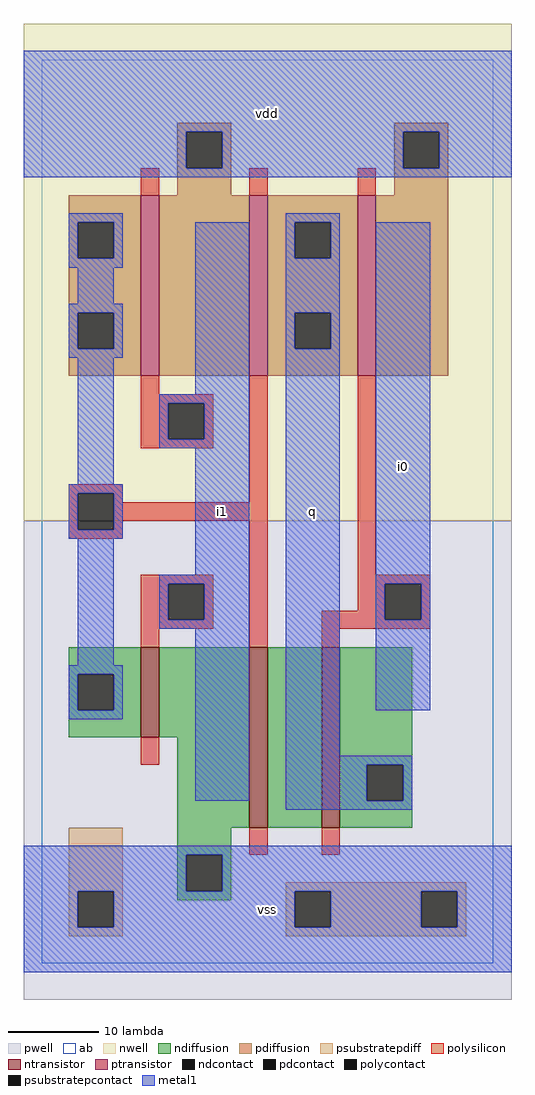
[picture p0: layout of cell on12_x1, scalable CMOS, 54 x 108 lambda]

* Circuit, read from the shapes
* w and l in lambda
.subckt on12_x1 i0 i1 q vdd vss
M1 vss i1 n1 vss nfet w=10 l=2
M2 n2 n1 vss vss nfet w=20 l=2
M3 q i0 n2 vss nfet w=20 l=2
M4 vdd i1 n1 n3 pfet w=20 l=2
M5 q n1 vdd n3 pfet w=20 l=2
M6 vdd i0 q n3 pfet w=20 l=2
.ends

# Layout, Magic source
magic
tech scmos
<< ab >>
rect 0 0 50 100
<< pwell >>
rect -2 -4 52 49
<< nwell >>
rect -2 49 52 104
<< polysilicon >>
rect 11 85 13 88
rect 23 85 25 88
rect 35 85 37 88
rect 11 63 13 65
rect 11 62 19 63
rect 11 58 14 62
rect 18 58 19 62
rect 11 57 19 58
rect 3 52 9 53
rect 3 48 4 52
rect 8 51 9 52
rect 23 51 25 65
rect 8 49 25 51
rect 8 48 9 49
rect 3 47 9 48
rect 11 42 19 43
rect 11 38 14 42
rect 18 38 19 42
rect 11 37 19 38
rect 11 35 13 37
rect 23 35 25 49
rect 35 43 37 65
rect 35 42 43 43
rect 35 39 38 42
rect 31 38 38 39
rect 42 38 43 42
rect 31 37 43 38
rect 31 35 33 37
rect 11 22 13 25
rect 23 12 25 15
rect 31 12 33 15
<< ndiffusion >>
rect 3 32 11 35
rect 3 28 4 32
rect 8 28 11 32
rect 3 25 11 28
rect 13 25 23 35
rect 15 15 23 25
rect 25 15 31 35
rect 33 22 41 35
rect 33 18 36 22
rect 40 18 41 22
rect 33 15 41 18
rect 15 12 21 15
rect 15 8 16 12
rect 20 8 21 12
rect 15 7 21 8
<< pdiffusion >>
rect 15 92 21 93
rect 15 88 16 92
rect 20 88 21 92
rect 39 92 45 93
rect 39 88 40 92
rect 44 88 45 92
rect 15 85 21 88
rect 39 85 45 88
rect 3 82 11 85
rect 3 78 4 82
rect 8 78 11 82
rect 3 72 11 78
rect 3 68 4 72
rect 8 68 11 72
rect 3 65 11 68
rect 13 65 23 85
rect 25 82 35 85
rect 25 78 28 82
rect 32 78 35 82
rect 25 72 35 78
rect 25 68 28 72
rect 32 68 35 72
rect 25 65 35 68
rect 37 65 45 85
<< metal1 >>
rect -2 92 52 101
rect -2 88 16 92
rect 20 88 40 92
rect 44 88 52 92
rect -2 87 52 88
rect 3 82 9 83
rect 27 82 33 83
rect 3 78 4 82
rect 8 78 9 82
rect 3 77 9 78
rect 4 73 8 77
rect 3 72 9 73
rect 3 68 4 72
rect 8 68 9 72
rect 3 67 9 68
rect 4 53 8 67
rect 17 63 23 82
rect 13 62 23 63
rect 13 58 14 62
rect 18 58 23 62
rect 13 57 23 58
rect 3 52 9 53
rect 3 48 4 52
rect 8 48 9 52
rect 3 47 9 48
rect 4 33 8 47
rect 17 43 23 57
rect 13 42 23 43
rect 13 38 14 42
rect 18 38 23 42
rect 13 37 23 38
rect 3 32 9 33
rect 3 28 4 32
rect 8 28 9 32
rect 3 27 9 28
rect 17 18 23 37
rect 27 78 28 82
rect 32 78 33 82
rect 27 72 33 78
rect 27 68 28 72
rect 32 68 33 72
rect 27 23 33 68
rect 37 42 43 82
rect 37 38 38 42
rect 42 38 43 42
rect 37 28 43 38
rect 27 22 41 23
rect 27 18 36 22
rect 40 18 41 22
rect 27 17 41 18
rect -2 12 52 13
rect -2 8 16 12
rect 20 8 52 12
rect -2 4 4 8
rect 8 4 28 8
rect 32 4 42 8
rect 46 4 52 8
rect -2 -1 52 4
<< ntransistor >>
rect 11 25 13 35
rect 23 15 25 35
rect 31 15 33 35
<< ptransistor >>
rect 11 65 13 85
rect 23 65 25 85
rect 35 65 37 85
<< polycontact >>
rect 14 58 18 62
rect 4 48 8 52
rect 14 38 18 42
rect 38 38 42 42
<< ndcontact >>
rect 4 28 8 32
rect 36 18 40 22
rect 16 8 20 12
<< pdcontact >>
rect 16 88 20 92
rect 40 88 44 92
rect 4 78 8 82
rect 4 68 8 72
rect 28 78 32 82
rect 28 68 32 72
<< psubstratepcontact >>
rect 4 4 8 8
rect 28 4 32 8
rect 42 4 46 8
<< psubstratepdiff >>
rect 3 8 9 15
rect 3 4 4 8
rect 8 4 9 8
rect 27 8 47 9
rect 3 3 9 4
rect 27 4 28 8
rect 32 4 42 8
rect 46 4 47 8
rect 27 3 47 4
<< labels >>
rlabel metal1 20 50 20 50 6 i1
rlabel metal1 20 50 20 50 6 i1
rlabel metal1 25 6 25 6 6 vss
rlabel metal1 25 6 25 6 6 vss
rlabel metal1 30 50 30 50 6 q
rlabel metal1 30 50 30 50 6 q
rlabel metal1 25 94 25 94 6 vdd
rlabel metal1 25 94 25 94 6 vdd
rlabel metal1 40 55 40 55 6 i0
rlabel metal1 40 55 40 55 6 i0
<< end >>
